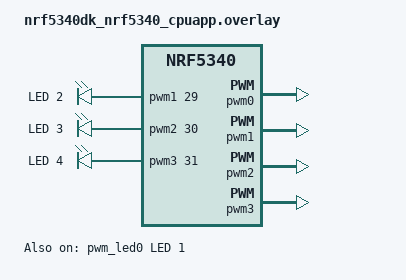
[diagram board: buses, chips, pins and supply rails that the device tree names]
/* Copyright (c) 2021 Nordic Semiconductor ASA
 *
 * SPDX-License-Identifier: LicenseRef-Nordic-5-Clause
 */

/ {
	pwmleds1 {
		compatible = "pwm-leds";
		status = "okay";

		pwm_led1: led_pwm_1 {
			pwms = <&pwm1 29>;
			label = "LED 2";
		};
	};

	pwmleds2 {
		compatible = "pwm-leds";
		status = "okay";

		pwm_led2: led_pwm_2 {
			status = "okay";
			pwms = <&pwm2 30>;
			label = "LED 3";
		};
	};

	pwmleds3 {
		compatible = "pwm-leds";
		status = "okay";

		pwm_led3: led_pwm_3 {
			status = "okay";
			pwms = <&pwm3 31>;
			label = "LED 4";
		};
	};
};

&pwm0 {
	status = "okay";
	ch0-pin = <28>;
	ch0-inverted;
};

&pwm1 {
	status = "okay";
	ch0-pin = <29>;
	ch0-inverted;
};

&pwm2 {
	status = "okay";
	ch0-pin = <30>;
	ch0-inverted;
};

&pwm3 {
	status = "okay";
	ch0-pin = <31>;
	ch0-inverted;
};

&pwm_led0 {
	status = "okay";
	pwms = <&pwm0 28>;
	label = "LED 1";
};
